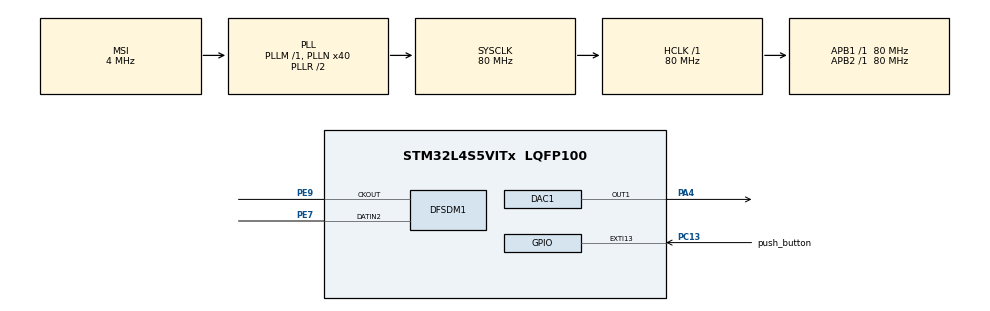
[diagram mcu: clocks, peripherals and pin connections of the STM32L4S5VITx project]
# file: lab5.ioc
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DAC1.DAC_Trigger-DAC_OUT1=DAC_TRIGGER_T2_TRGO
DFSDM1.Divider=40
DFSDM1.DmaMode_reg_FIL1=ENABLE
DFSDM1.FastMode_reg_FIL1=ENABLE
DFSDM1.Filter_regChannel_FIL1=DFSDM_CHANNEL_2
DFSDM1.Fosr_FIL1=100
DFSDM1.SincOrder_FIL1=DFSDM_FILTER_SINC3_ORDER
Dma.DAC1_CH1.0.Direction=DMA_MEMORY_TO_PERIPH
Dma.DAC1_CH1.0.EventEnable=DISABLE
Dma.DAC1_CH1.0.Instance=DMA1_Channel2
Dma.DAC1_CH1.0.MemDataAlignment=DMA_MDATAALIGN_WORD
Dma.DAC1_CH1.0.MemInc=DMA_MINC_ENABLE
Dma.DAC1_CH1.0.Mode=DMA_CIRCULAR
Dma.DAC1_CH1.0.PeriphDataAlignment=DMA_PDATAALIGN_WORD
Dma.DAC1_CH1.0.PeriphInc=DMA_PINC_DISABLE
Dma.DAC1_CH1.0.Polarity=HAL_DMAMUX_REQUEST_GEN_RISING
Dma.DAC1_CH1.0.Priority=DMA_PRIORITY_LOW
Dma.DAC1_CH1.0.RequestNumber=1
Dma.DAC1_CH1.0.SignalID=NONE
Dma.DAC1_CH1.0.SyncEnable=DISABLE
Dma.DAC1_CH1.0.SyncPolarity=HAL_DMAMUX_SYNC_NO_EVENT
Dma.DAC1_CH1.0.SyncRequestNumber=1
Dma.DAC1_CH1.0.SyncSignalID=NONE
Dma.DFSDM1_FLT1.1.Direction=DMA_PERIPH_TO_MEMORY
Dma.DFSDM1_FLT1.1.EventEnable=DISABLE
Dma.DFSDM1_FLT1.1.Instance=DMA1_Channel1
Dma.DFSDM1_FLT1.1.MemDataAlignment=DMA_MDATAALIGN_WORD
Dma.DFSDM1_FLT1.1.MemInc=DMA_MINC_ENABLE
Dma.DFSDM1_FLT1.1.Mode=DMA_CIRCULAR
Dma.DFSDM1_FLT1.1.PeriphDataAlignment=DMA_PDATAALIGN_WORD
Dma.DFSDM1_FLT1.1.PeriphInc=DMA_PINC_DISABLE
Dma.DFSDM1_FLT1.1.Polarity=HAL_DMAMUX_REQUEST_GEN_RISING
Dma.DFSDM1_FLT1.1.Priority=DMA_PRIORITY_LOW
Dma.DFSDM1_FLT1.1.RequestNumber=1
Dma.DFSDM1_FLT1.1.SignalID=NONE
Dma.DFSDM1_FLT1.1.SyncEnable=DISABLE
Dma.DFSDM1_FLT1.1.SyncPolarity=HAL_DMAMUX_SYNC_NO_EVENT
Dma.DFSDM1_FLT1.1.SyncRequestNumber=1
Dma.DFSDM1_FLT1.1.SyncSignalID=NONE
Dma.Request0=DAC1_CH1
Dma.Request1=DFSDM1_FLT1
Mcu.Family=STM32L4
Mcu.Name=STM32L4S5VITx
Mcu.Package=LQFP100
NVIC.DMA1_Channel1_IRQn=true\:0\:0\:false\:false\:true\:false\:true\:true
NVIC.DMA1_Channel2_IRQn=true\:0\:0\:false\:false\:true\:false\:true\:true
NVIC.EXTI15_10_IRQn=true\:0\:0\:false\:false\:true\:true\:true\:true
NVIC.PriorityGroup=NVIC_PRIORITYGROUP_4
NVIC.TIM2_IRQn=true\:0\:0\:false\:false\:true\:true\:true\:true
PA13\ (JTMS/SWDIO).Signal=SYS_JTMS-SWDIO
PA4.Signal=COMP_DAC11_group
PB3\ (JTDO/TRACESWO).Signal=SYS_JTDO-SWO
PC13.GPIO_Label=push_button
PC13.Signal=GPXTI13
PE7.Signal=S_DATAIN2DFSDM1
PE9.Signal=S_CKOUTDFSDM1
ProjectManager.HeapSize=0x200
ProjectManager.StackSize=0x400
ProjectManager.TargetToolchain=STM32CubeIDE
RCC.ADCFreq_Value=48000000
RCC.AHBFreq_Value=80000000
RCC.APB1Freq_Value=80000000
RCC.APB1TimFreq_Value=80000000
RCC.APB2Freq_Value=80000000
RCC.APB2TimFreq_Value=80000000
RCC.CortexFreq_Value=80000000
RCC.HCLKFreq_Value=80000000
RCC.HSE_VALUE=8000000
RCC.HSI48_VALUE=48000000
RCC.HSI_VALUE=16000000
RCC.LSE_VALUE=32768
RCC.MSI_VALUE=4000000
RCC.PLLN=40
RCC.PLLSAI1N=24
RCC.SYSCLKFreq_VALUE=80000000
RCC.SYSCLKSource=RCC_SYSCLKSOURCE_PLLCLK
RCC.USBFreq_Value=48000000
RCC.VCOOutputFreq_Value=160000000
SH.COMP_DAC11_group.0=DAC1_OUT1,DAC_OUT1
SH.S_CKOUTDFSDM1.0=DFSDM1_CKOUT,PDM_SPI_input_from_ch2_and_internal_clock
SH.S_CKOUTDFSDM1.1=DFSDM1_CKOUT,CKOUT
SH.S_DATAIN2DFSDM1.0=DFSDM1_DATIN2,PDM_SPI_input_from_ch2_and_internal_clock
TIM2.Period=4000
TIM2.TIM_MasterOutputTrigger=TIM_TRGO_UPDATE
VP_TIM2_VS_ClockSourceINT.Mode=Internal
board=B-L4S5I-IOT01A

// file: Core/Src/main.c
/* USER CODE BEGIN Header */
/**
  ******************************************************************************
  * @file           : main.c
  * @brief          : Main program body
  ******************************************************************************
  * @attention
  *
  * Copyright (c) 2022 STMicroelectronics.
  * All rights reserved.
  *
  * This software is licensed under terms that can be found in the LICENSE file
  * in the root directory of this software component.
  * If no LICENSE file comes with this software, it is provided AS-IS.
  *
  ******************************************************************************
  */
/* USER CODE END Header */
#include "main.h"

DAC_HandleTypeDef hdac1;
DMA_HandleTypeDef hdma_dac1_ch1;

DFSDM_Filter_HandleTypeDef hdfsdm1_filter1;
DFSDM_Channel_HandleTypeDef hdfsdm1_channel2;
DMA_HandleTypeDef hdma_dfsdm1_flt1;

TIM_HandleTypeDef htim2;

/* USER CODE BEGIN PV */
#define LENGTH	12000
int32_t record[LENGTH];
uint32_t play[LENGTH];
int recording = 0;

/* USER CODE END PV */

void SystemClock_Config(void);
static void MX_GPIO_Init(void);
static void MX_DMA_Init(void);
static void MX_DAC1_Init(void);
static void MX_TIM2_Init(void);
static void MX_DFSDM1_Init(void);

int main(void)
{

  /* MCU Configuration--------------------------------------------------------*/

  /* Reset of all peripherals, Initializes the Flash interface and the Systick. */
  HAL_Init();

  /* Configure the system clock */
  SystemClock_Config();

  /* Initialize all configured peripherals */
  MX_GPIO_Init();
  MX_DMA_Init();
  MX_DAC1_Init();
  MX_TIM2_Init();
  MX_DFSDM1_Init();
  /* USER CODE BEGIN 2 */
  HAL_TIM_Base_Start_IT(&htim2);

  /*HAL_TIM_Base_Start(&htim2);
  for(int i = 0 ; i<18000 ; i++){
	  audioBuffer[i] = 0;
  }
  */

  /* USER CODE END 2 */

  /* Infinite loop */
  while (1)
  {

  }
}

void SystemClock_Config(void)
{
  RCC_OscInitTypeDef RCC_OscInitStruct = {0};
  RCC_ClkInitTypeDef RCC_ClkInitStruct = {0};

  /** Configure the main internal regulator output voltage
  */
  if (HAL_PWREx_ControlVoltageScaling(PWR_REGULATOR_VOLTAGE_SCALE1) != HAL_OK)
  {
    Error_Handler();
  }

  /** Initializes the RCC Oscillators according to the specified parameters
  * in the RCC_OscInitTypeDef structure.
  */
  RCC_OscInitStruct.OscillatorType = RCC_OSCILLATORTYPE_MSI;
  RCC_OscInitStruct.MSIState = RCC_MSI_ON;
  RCC_OscInitStruct.MSICalibrationValue = 0;
  RCC_OscInitStruct.MSIClockRange = RCC_MSIRANGE_6;
  RCC_OscInitStruct.PLL.PLLState = RCC_PLL_ON;
  RCC_OscInitStruct.PLL.PLLSource = RCC_PLLSOURCE_MSI;
  RCC_OscInitStruct.PLL.PLLM = 1;
  RCC_OscInitStruct.PLL.PLLN = 40;
  RCC_OscInitStruct.PLL.PLLP = RCC_PLLP_DIV2;
  RCC_OscInitStruct.PLL.PLLQ = RCC_PLLQ_DIV2;
  RCC_OscInitStruct.PLL.PLLR = RCC_PLLR_DIV2;
  if (HAL_RCC_OscConfig(&RCC_OscInitStruct) != HAL_OK)
  {
    Error_Handler();
  }

  /** Initializes the CPU, AHB and APB buses clocks
  */
  RCC_ClkInitStruct.ClockType = RCC_CLOCKTYPE_HCLK|RCC_CLOCKTYPE_SYSCLK
                              |RCC_CLOCKTYPE_PCLK1|RCC_CLOCKTYPE_PCLK2;
  RCC_ClkInitStruct.SYSCLKSource = RCC_SYSCLKSOURCE_PLLCLK;
  RCC_ClkInitStruct.AHBCLKDivider = RCC_SYSCLK_DIV1;
  RCC_ClkInitStruct.APB1CLKDivider = RCC_HCLK_DIV1;
  RCC_ClkInitStruct.APB2CLKDivider = RCC_HCLK_DIV1;

  if (HAL_RCC_ClockConfig(&RCC_ClkInitStruct, FLASH_LATENCY_3) != HAL_OK)
  {
    Error_Handler();
  }
}

static void MX_DAC1_Init(void)
{

  DAC_ChannelConfTypeDef sConfig = {0};

  /** DAC Initialization
  */
  hdac1.Instance = DAC1;
  if (HAL_DAC_Init(&hdac1) != HAL_OK)
  {
    Error_Handler();
  }

  /** DAC channel OUT1 config
  */
  sConfig.DAC_SampleAndHold = DAC_SAMPLEANDHOLD_DISABLE;
  sConfig.DAC_Trigger = DAC_TRIGGER_T2_TRGO;
  sConfig.DAC_HighFrequency = DAC_HIGH_FREQUENCY_INTERFACE_MODE_ABOVE_80MHZ;
  sConfig.DAC_OutputBuffer = DAC_OUTPUTBUFFER_ENABLE;
  sConfig.DAC_ConnectOnChipPeripheral = DAC_CHIPCONNECT_DISABLE;
  sConfig.DAC_UserTrimming = DAC_TRIMMING_FACTORY;
  if (HAL_DAC_ConfigChannel(&hdac1, &sConfig, DAC_CHANNEL_1) != HAL_OK)
  {
    Error_Handler();
  }

}

static void MX_DFSDM1_Init(void)
{

  hdfsdm1_filter1.Instance = DFSDM1_Filter1;
  hdfsdm1_filter1.Init.RegularParam.Trigger = DFSDM_FILTER_SW_TRIGGER;
  hdfsdm1_filter1.Init.RegularParam.FastMode = ENABLE;
  hdfsdm1_filter1.Init.RegularParam.DmaMode = ENABLE;
  hdfsdm1_filter1.Init.FilterParam.SincOrder = DFSDM_FILTER_SINC3_ORDER;
  hdfsdm1_filter1.Init.FilterParam.Oversampling = 100;
  hdfsdm1_filter1.Init.FilterParam.IntOversampling = 1;
  if (HAL_DFSDM_FilterInit(&hdfsdm1_filter1) != HAL_OK)
  {
    Error_Handler();
  }
  hdfsdm1_channel2.Instance = DFSDM1_Channel2;
  hdfsdm1_channel2.Init.OutputClock.Activation = ENABLE;
  hdfsdm1_channel2.Init.OutputClock.Selection = DFSDM_CHANNEL_OUTPUT_CLOCK_SYSTEM;
  hdfsdm1_channel2.Init.OutputClock.Divider = 40;
  hdfsdm1_channel2.Init.Input.Multiplexer = DFSDM_CHANNEL_EXTERNAL_INPUTS;
  hdfsdm1_channel2.Init.Input.DataPacking = DFSDM_CHANNEL_STANDARD_MODE;
  hdfsdm1_channel2.Init.Input.Pins = DFSDM_CHANNEL_SAME_CHANNEL_PINS;
  hdfsdm1_channel2.Init.SerialInterface.Type = DFSDM_CHANNEL_SPI_RISING;
  hdfsdm1_channel2.Init.SerialInterface.SpiClock = DFSDM_CHANNEL_SPI_CLOCK_INTERNAL;
  hdfsdm1_channel2.Init.Awd.FilterOrder = DFSDM_CHANNEL_FASTSINC_ORDER;
  hdfsdm1_channel2.Init.Awd.Oversampling = 1;
  hdfsdm1_channel2.Init.Offset = 0;
  hdfsdm1_channel2.Init.RightBitShift = 0x00;
  if (HAL_DFSDM_ChannelInit(&hdfsdm1_channel2) != HAL_OK)
  {
    Error_Handler();
  }
  if (HAL_DFSDM_FilterConfigRegChannel(&hdfsdm1_filter1, DFSDM_CHANNEL_2, DFSDM_CONTINUOUS_CONV_ON) != HAL_OK)
  {
    Error_Handler();
  }

}

static void MX_TIM2_Init(void)
{

  TIM_ClockConfigTypeDef sClockSourceConfig = {0};
  TIM_MasterConfigTypeDef sMasterConfig = {0};

  htim2.Instance = TIM2;
  htim2.Init.Prescaler = 0;
  htim2.Init.CounterMode = TIM_COUNTERMODE_UP;
  htim2.Init.Period = 4000;
  htim2.Init.ClockDivision = TIM_CLOCKDIVISION_DIV1;
  htim2.Init.AutoReloadPreload = TIM_AUTORELOAD_PRELOAD_DISABLE;
  if (HAL_TIM_Base_Init(&htim2) != HAL_OK)
  {
    Error_Handler();
  }
  sClockSourceConfig.ClockSource = TIM_CLOCKSOURCE_INTERNAL;
  if (HAL_TIM_ConfigClockSource(&htim2, &sClockSourceConfig) != HAL_OK)
  {
    Error_Handler();
  }
  sMasterConfig.MasterOutputTrigger = TIM_TRGO_UPDATE;
  sMasterConfig.MasterSlaveMode = TIM_MASTERSLAVEMODE_DISABLE;
  if (HAL_TIMEx_MasterConfigSynchronization(&htim2, &sMasterConfig) != HAL_OK)
  {
    Error_Handler();
  }

}

static void MX_DMA_Init(void)
{

  /* DMA controller clock enable */
  __HAL_RCC_DMAMUX1_CLK_ENABLE();
  __HAL_RCC_DMA1_CLK_ENABLE();

  /* DMA interrupt init */
  /* DMA1_Channel1_IRQn interrupt configuration */
  HAL_NVIC_SetPriority(DMA1_Channel1_IRQn, 0, 0);
  HAL_NVIC_EnableIRQ(DMA1_Channel1_IRQn);
  /* DMA1_Channel2_IRQn interrupt configuration */
  HAL_NVIC_SetPriority(DMA1_Channel2_IRQn, 0, 0);
  HAL_NVIC_EnableIRQ(DMA1_Channel2_IRQn);

}

static void MX_GPIO_Init(void)
{
  GPIO_InitTypeDef GPIO_InitStruct = {0};

  /* GPIO Ports Clock Enable */
  __HAL_RCC_GPIOC_CLK_ENABLE();
  __HAL_RCC_GPIOA_CLK_ENABLE();
  __HAL_RCC_GPIOE_CLK_ENABLE();
  __HAL_RCC_GPIOB_CLK_ENABLE();

  /*Configure GPIO pin : push_button_Pin */
  GPIO_InitStruct.Pin = push_button_Pin;
  GPIO_InitStruct.Mode = GPIO_MODE_IT_RISING;
  GPIO_InitStruct.Pull = GPIO_NOPULL;
  HAL_GPIO_Init(push_button_GPIO_Port, &GPIO_InitStruct);

  /* EXTI interrupt init*/
  HAL_NVIC_SetPriority(EXTI15_10_IRQn, 0, 0);
  HAL_NVIC_EnableIRQ(EXTI15_10_IRQn);

}

/* USER CODE BEGIN 4 */
void HAL_GPIO_EXTI_Callback(uint16_t GPIO_PIN){
	//button pressed
	if(GPIO_PIN == GPIO_PIN_13){
		if(recording == 0){
			HAL_DFSDM_FilterRegularStart_DMA(&hdfsdm1_filter1, record, LENGTH);	//Start regular conversion

			recording = 1;
		}else{

			HAL_DAC_Stop_DMA(&hdac1, DAC_CHANNEL_1);
			for(int i=0;i<LENGTH;i++){
				play[i] = 0;
				record[i] = 0;
			}
			recording = 0;
		}
	}
}

//at the half transfer and at the transfer complete
void HAL_DFSDM_FilterRegConvHalfCpltCallback(DFSDM_Filter_HandleTypeDef *hdfsdm_filter){
	for(int i=0;i<LENGTH/2;i++){
		play[i] = record[i]>>8;
		play[i]= play[i]+8388608;
		play[i] = play[i]>>11;
	}
}

//Regular conversion complete callback.
void HAL_DFSDM_FilterRegConvCpltCallback(DFSDM_Filter_HandleTypeDef *hdfsdm_filter){
	for(int i = LENGTH/2;i<LENGTH;i++){
		play[i] = record[i]>>8;
		play[i]= play[i]+8388608;
		play[i] = play[i]>>11;

	}
	HAL_DFSDM_FilterRegularStop_DMA(&hdfsdm1_filter1);								//stop regular conversion in DMA mode
	HAL_DAC_Start_DMA(&hdac1, DAC_CHANNEL_1, play, LENGTH, DAC_ALIGN_12B_R);
}

/* USER CODE END 4 */

void Error_Handler(void)
{
  __disable_irq();
  while (1)
  {
  }
}
